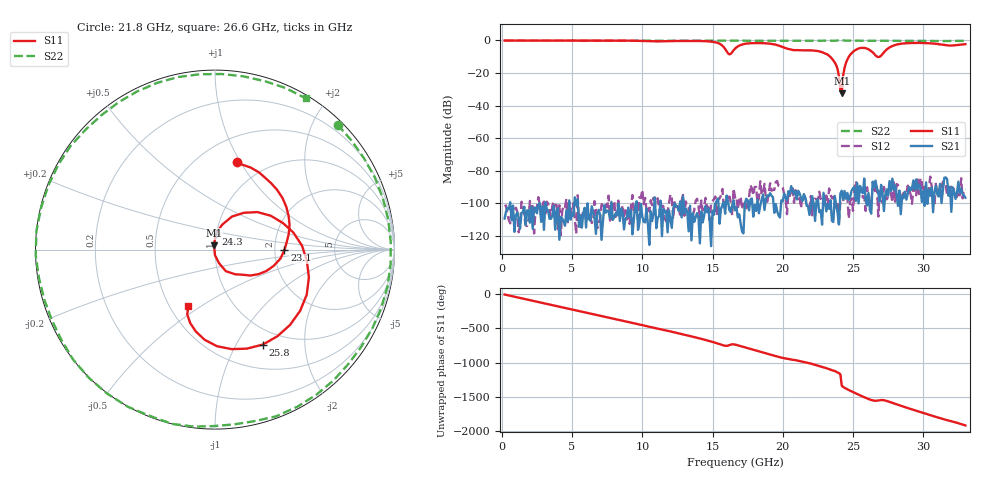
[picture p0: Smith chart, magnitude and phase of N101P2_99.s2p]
# GHZ S RI R 50
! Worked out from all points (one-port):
!   329 points, 200 MHz to 33 GHz, reference 50 ohm
!   lowest |S11| = -32.5 dB at 24.2 GHz (marker M1), VSWR 1.05, Z = 49.4 + j2.27 ohm
!   |S11| at or under -10 dB: 23.38 GHz to 24.7 GHz (1.324 GHz wide, 5.51 % of centre); 26.74 GHz to 26.9 GHz (151.7 MHz wide, 0.566 % of centre)
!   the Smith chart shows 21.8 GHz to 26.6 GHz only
!   S11 on the Smith chart (normalised r, x): 21.8 GHz: 0.74, +0.96; 23.1 GHz: 2.26, -0.02; 24.3 GHz: 0.99, +0.17; 25.8 GHz: 0.79, -1.30; 26.6 GHz: 0.62, -0.45
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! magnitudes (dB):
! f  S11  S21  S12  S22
! 200 MHz  0.0  -109.3  -101.8  0.0
! 5.7 GHz  0.0  -114.9  -104.7  0.0
! 11.2 GHz  -0.5  -107.9  -103.6  -0.2
! 15.2 GHz  -1.1  -100.0  -95.8  -0.1
! 16.2 GHz  -8.5  -104.1  -95.8  -0.1
! 16.6 GHz  -5.0  -104.3  -96.4  -0.1
! 18.4 GHz  -1.6  -101.2  -86.4  -0.2
! 21.8 GHz  -6.0  -101.5  -99.1  -0.2
! 22.1 GHz  -6.1  -95.6  -107.4  -0.2
! 23.1 GHz  -8.2  -104.9  -95.2  -0.1
! 23.8 GHz  -15.0  -100.7  -102.0  -0.1
! 23.9 GHz  -17.4  -105.8  -99.2  0.0
! 24.2 GHz  -32.5  -92.2  -98.0  0.0
! 24.3 GHz  -21.3  -97.4  -98.7  0.0
! 24.5 GHz  -13.7  -97.2  -94.9  -0.1
! 24.8 GHz  -8.8  -95.8  -98.8  -0.1
! 25.8 GHz  -4.5  -84.7  -96.0  -0.2
! 26.6 GHz  -9.1  -86.0  -93.1  -0.2
! 26.9 GHz  -10.0  -98.9  -91.8  -0.1
! 27.6 GHz  -4.3  -86.4  -93.9  -0.2
! 29 GHz  -1.6  -90.0  -91.7  -0.2
! 33 GHz  -2.2  -96.6  -91.5  -0.2
